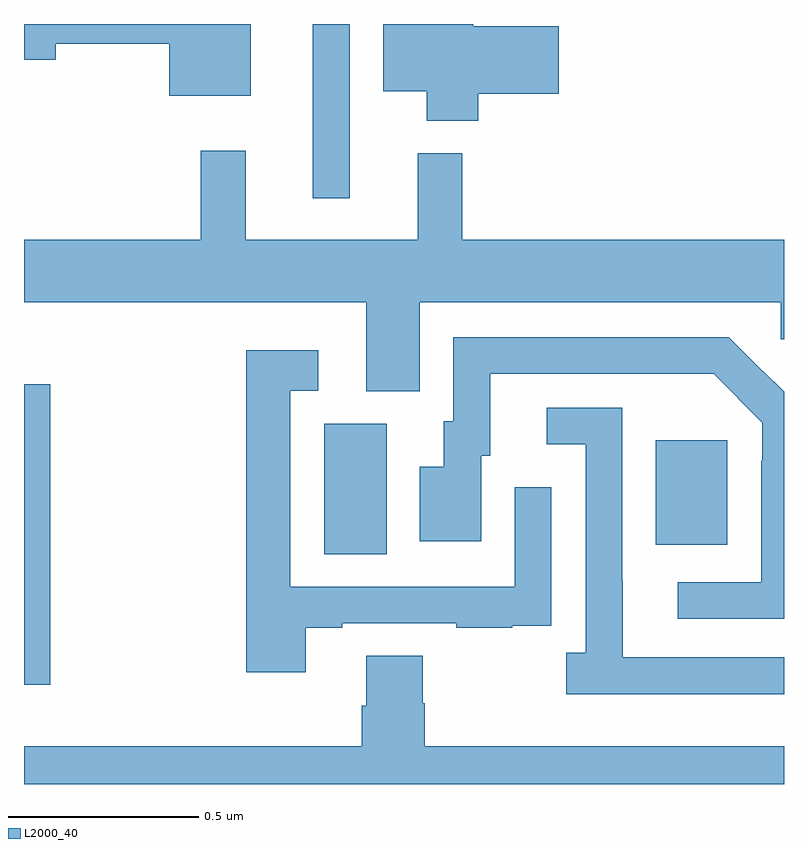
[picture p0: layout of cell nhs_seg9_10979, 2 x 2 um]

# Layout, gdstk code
import gdstk
lib = gdstk.Library(unit=1e-6, precision=1e-09)
def R(c, l, rs):  # rectangles x0, y0, x1, y1
    for r in rs: c.add(gdstk.rectangle(r[:2], r[2:], *l))
def P(c, l, *ps):  # polygons
    for p in ps: c.add(gdstk.Polygon(p, *l))
L2000_40 = (2000, 40)

nhs_seg9_10979 = lib.new_cell('nhs_seg9_10979')
R(nhs_seg9_10979, L2000_40, [(250,1180.761,250.069,1181.552), (250.79,1181.104,250.954,1181.448), (251.663,1181.129,251.851,1181.404), (250.76,1182.042,250.857,1182.5)])
P(nhs_seg9_10979, L2000_40, [(250.597,1182.5),(250,1182.5),(250,1182.406),(250.084,1182.406),(250.084,1182.448),(250.382,1182.448),(250.382,1182.311),(250.597,1182.311)],
  [(251.195,1182.316),(251.407,1182.316),(251.407,1182.494),(251.182,1182.494),(251.182,1182.5),(250.946,1182.5),(250.946,1182.323),(251.06,1182.323),(251.06,1182.245),(251.195,1182.245)],
  [(251.041,1181.768),(251.991,1181.768),(251.991,1181.67),(252,1181.67),(252,1181.932),(251.153,1181.932),(251.153,1182.16),(251.036,1182.16),(251.036,1181.932),(250.583,1181.932),(250.583,1182.166),(250.465,1182.166),(250.465,1181.932),(250,1181.932),(250,1181.768),(250.901,1181.768),(250.901,1181.533),(251.041,1181.533)],
  [(252,1181.532),(251.946,1181.586),(251.945,1181.585),(251.854,1181.676),(251.13,1181.676),(251.13,1181.454),(251.105,1181.454),(251.105,1181.335),(251.042,1181.335),(251.042,1181.139),(251.203,1181.139),(251.203,1181.364),(251.227,1181.364),(251.227,1181.58),(251.815,1181.58),(251.943,1181.451),(251.943,1181.351),(251.94,1181.351),(251.94,1181.031),(251.721,1181.031),(251.721,1180.935),(252,1180.935)],
  [(250.741,1180.911),(250.837,1180.911),(250.837,1180.923),(251.137,1180.923),(251.137,1180.911),(251.285,1180.911),(251.285,1180.917),(251.387,1180.917),(251.387,1181.026),(251.388,1181.026),(251.388,1181.281),(251.292,1181.281),(251.292,1181.019),(250.701,1181.019),(250.701,1181.535),(250.774,1181.535),(250.774,1181.641),(250.585,1181.641),(250.585,1180.794),(250.741,1180.794)],
  [(252,1180.833),(251.575,1180.833),(251.575,1181.033),(251.574,1181.033),(251.574,1181.49),(251.376,1181.49),(251.376,1181.394),(251.478,1181.394),(251.478,1180.846),(251.427,1180.846),(251.427,1180.736),(252,1180.736)],
  [(252,1180.6),(251.054,1180.6),(251.054,1180.713),(251.049,1180.713),(251.049,1180.838),(250.901,1180.838),(250.901,1180.706),(250.889,1180.706),(250.889,1180.6),(250,1180.6),(250,1180.5),(252,1180.5)])

lib.write_gds('nhs_seg9_10979.gds')
